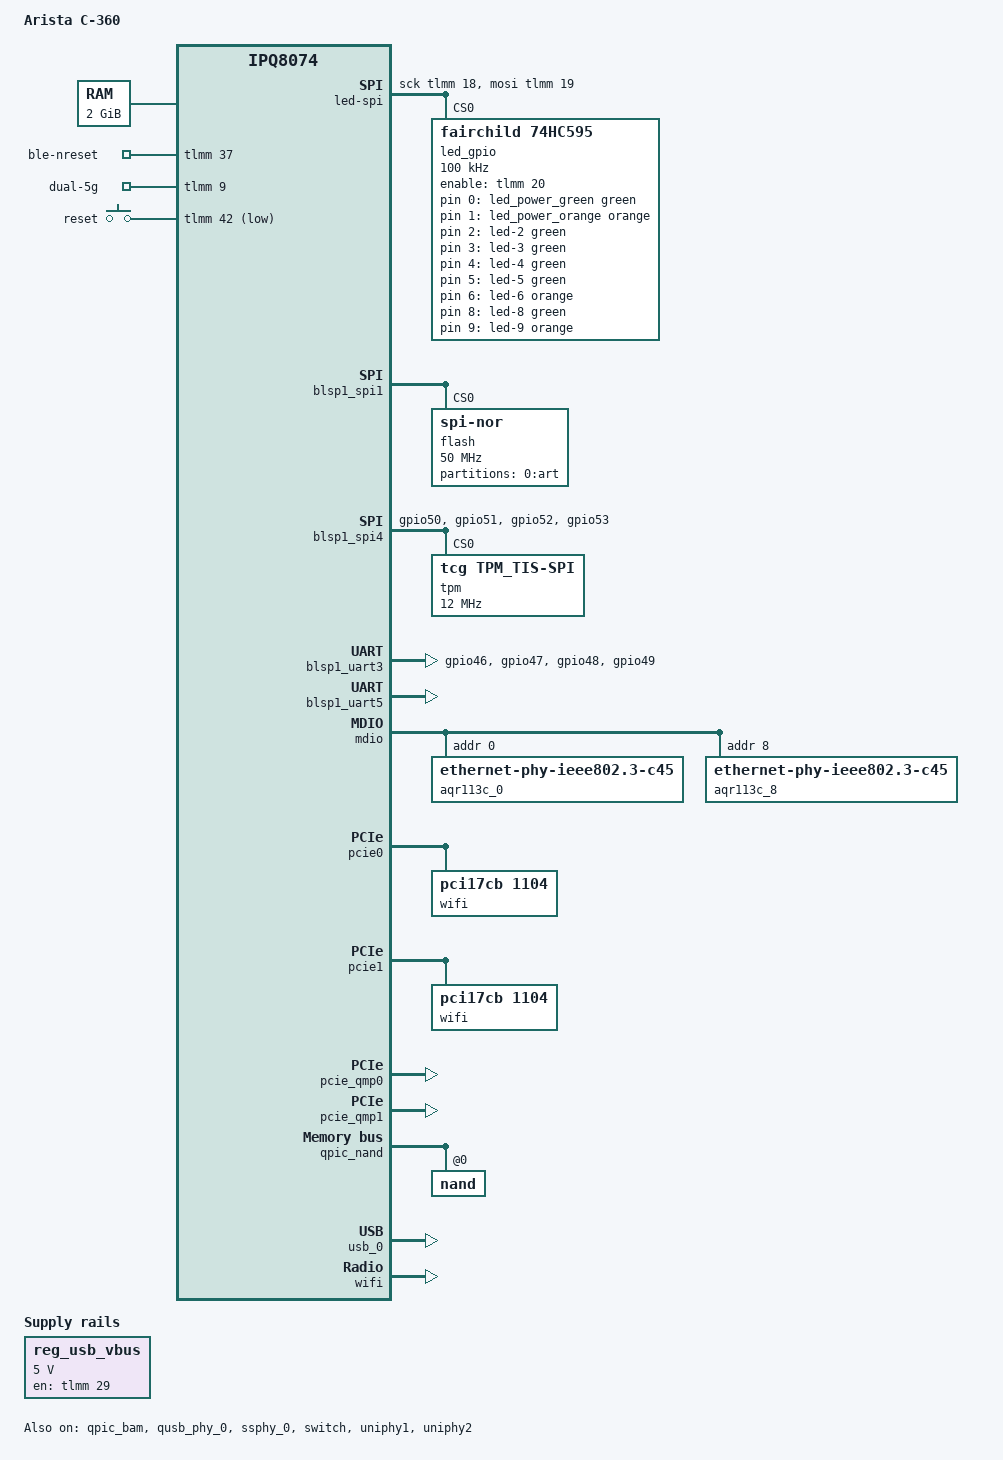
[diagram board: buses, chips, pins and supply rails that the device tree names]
// SPDX-License-Identifier: GPL-2.0-or-later OR MIT

/dts-v1/;

#include "ipq8074.dtsi"
#include "ipq8074-hk-cpu.dtsi"
#include "ipq8074-ess.dtsi"
#include "ipq8074-nss.dtsi"
#include <dt-bindings/gpio/gpio.h>
#include <dt-bindings/input/input.h>
#include <dt-bindings/leds/common.h>

/ {
	model = "Arista C-360";
	compatible = "arista,c-360", "qcom,ipq8074";

	aliases {
		serial0 = &blsp1_uart5;
		serial1 = &blsp1_uart3;
		led-boot = &led_power_orange;
		led-failsafe = &led_power_orange;
		led-running = &led_power_green;
		led-upgrade = &led_power_orange;
		label-mac-device = &port_lan1;
	};

	chosen {
		stdout-path = "serial0:115200n8";
		bootargs-append = " ubi.mtd=rootfs root=/dev/ubiblock0_1";
	};

	memory@40000000 {
		device_type = "memory";
		reg = <0x0 0x40000000 0x0 0x80000000>;
	};

	reg_usb_vbus: regulator-usb-vbus {
		compatible = "regulator-fixed";
		regulator-name = "usb_vbus";
		regulator-min-microvolt = <5000000>;
		regulator-max-microvolt = <5000000>;
		gpios = <&tlmm 29 GPIO_ACTIVE_HIGH>;
		enable-active-high;
	};

	gpio-export {
		compatible = "gpio-export";

		ble-nreset {
			gpio-export,name = "ble-nreset";
			gpio-export,output = <1>;
			gpios = <&tlmm 37 GPIO_ACTIVE_HIGH>;
		};

		/*
		 * the radio plan, as on the vendor firmware: low for 6 GHz (the
		 * IPQ8074 on all of 5 GHz, the pcie0 QCN9074 on 6 GHz), high for
		 * dual 5 GHz (the IPQ8074 on lower 5 GHz, the pcie0 QCN9074 on
		 * upper 5 GHz)
		 */
		dual-5g {
			gpio-export,name = "dual-5g";
			gpio-export,output = <0>;
			gpios = <&tlmm 9 GPIO_ACTIVE_HIGH>;
		};
	};

	keys {
		compatible = "gpio-keys";
		pinctrl-0 = <&button_pins>;
		pinctrl-names = "default";

		reset {
			label = "reset";
			gpios = <&tlmm 42 GPIO_ACTIVE_LOW>;
			linux,code = <KEY_RESTART>;
		};
	};

	led-spi {
		compatible = "spi-gpio";
		#address-cells = <1>;
		#size-cells = <0>;
		sck-gpios = <&tlmm 18 GPIO_ACTIVE_HIGH>;
		mosi-gpios = <&tlmm 19 GPIO_ACTIVE_HIGH>;

		led_gpio: led-gpio@0 {
			compatible = "fairchild,74hc595";
			reg = <0>;
			enable-gpios = <&tlmm 20 GPIO_ACTIVE_HIGH>;
			spi-max-frequency = <100000>;
			gpio-controller;
			#gpio-cells = <2>;
			registers-number = <2>;
		};
	};

	leds {
		compatible = "gpio-leds";

		led_power_green: led-0 {
			color = <LED_COLOR_ID_GREEN>;
			function = LED_FUNCTION_POWER;
			gpios = <&led_gpio 0 GPIO_ACTIVE_HIGH>;
		};

		led_power_orange: led-1 {
			color = <LED_COLOR_ID_ORANGE>;
			function = LED_FUNCTION_POWER;
			gpios = <&led_gpio 1 GPIO_ACTIVE_HIGH>;
		};

		led-2 {
			color = <LED_COLOR_ID_GREEN>;
			function = LED_FUNCTION_WLAN_2GHZ;
			gpios = <&led_gpio 2 GPIO_ACTIVE_HIGH>;
		};

		led-3 {
			color = <LED_COLOR_ID_GREEN>;
			function = LED_FUNCTION_WLAN_5GHZ;
			gpios = <&led_gpio 3 GPIO_ACTIVE_HIGH>;
		};

		led-4 {
			color = <LED_COLOR_ID_GREEN>;
			function = LED_FUNCTION_WLAN_6GHZ;
			gpios = <&led_gpio 4 GPIO_ACTIVE_HIGH>;
		};

		led-5 {
			color = <LED_COLOR_ID_GREEN>;
			function = LED_FUNCTION_LAN;
			function-enumerator = <1>;
			gpios = <&led_gpio 5 GPIO_ACTIVE_HIGH>;
		};

		led-6 {
			color = <LED_COLOR_ID_ORANGE>;
			function = LED_FUNCTION_LAN;
			function-enumerator = <1>;
			gpios = <&led_gpio 6 GPIO_ACTIVE_HIGH>;
		};

		led-8 {
			color = <LED_COLOR_ID_GREEN>;
			function = LED_FUNCTION_LAN;
			function-enumerator = <2>;
			gpios = <&led_gpio 8 GPIO_ACTIVE_HIGH>;
		};

		led-9 {
			color = <LED_COLOR_ID_ORANGE>;
			function = LED_FUNCTION_LAN;
			function-enumerator = <2>;
			gpios = <&led_gpio 9 GPIO_ACTIVE_HIGH>;
		};
	};
};

&blsp1_spi1 {
	status = "okay";

	flash@0 {
		compatible = "jedec,spi-nor";
		reg = <0>;
		spi-max-frequency = <50000000>;
		partitions {
			compatible = "qcom,smem-part";
			qcom,smem-flash-id = <0>;

			partition-0-art {
				label = "0:art";
				read-only;

				nvmem-layout {
					compatible = "fixed-layout";
					#address-cells = <1>;
					#size-cells = <1>;

					macaddr_art_0: macaddr@0 {
						reg = <0x0 0x6>;
					};

					macaddr_art_6: macaddr@6 {
						reg = <0x6 0x6>;
					};

					caldata_ipq8074: calibration@1000 {
						reg = <0x1000 0x20000>;
					};

					caldata_pcie0: calibration@26800 {
						reg = <0x26800 0x20000>;
					};

					caldata_pcie1: calibration@4c000 {
						reg = <0x4c000 0x20000>;
					};
				};
			};
		};
	};
};

/* Infineon SLB 9670 TPM 2.0 */
&blsp1_spi4 {
	pinctrl-0 = <&tpm_spi_pins>;
	pinctrl-names = "default";
	status = "okay";

	tpm@0 {
		compatible = "tcg,tpm_tis-spi";
		reg = <0>;
		spi-max-frequency = <12000000>;
	};
};

/* the nRF52833 Bluetooth LE controller (HCI over UART, no flow control) */
&blsp1_uart3 {
	pinctrl-0 = <&ble_uart_pins>;
	pinctrl-names = "default";
	status = "okay";
};

&blsp1_uart5 {
	status = "okay";
};

&edma {
	status = "okay";
};

&mdio {
	status = "okay";

	/* Ethernet 2 */
	aqr113c_0: ethernet-phy@0 {
		compatible = "ethernet-phy-ieee802.3-c45";
		reg = <0>;
	};

	/* Ethernet 1 */
	aqr113c_8: ethernet-phy@8 {
		compatible = "ethernet-phy-ieee802.3-c45";
		reg = <8>;
	};
};

&pcie0 {
	status = "okay";
	perst-gpios = <&tlmm 58 GPIO_ACTIVE_LOW>;

	pcie@0 {
		/* QCN9074: the 6 GHz radio */
		wifi@0,0 {
			compatible = "pci17cb,1104";
			reg = <0x00010000 0 0 0 0>;
			/* as the vendor firmware: 16 + 1 interfaces, 512 clients */
			qcom,ath11k-fw-memory-mode = <0>;
			qcom,ath11k-calibration-variant = "Arista-C360-pcie0";
			nvmem-cells = <&caldata_pcie0>;
			nvmem-cell-names = "calibration";
		};
	};
};

&pcie1 {
	status = "okay";
	perst-gpios = <&tlmm 61 GPIO_ACTIVE_LOW>;

	pcie@0 {
		/* QCN9072, the 2x2 QCN9074: the 2.4/5/6 GHz radio */
		wifi@0,0 {
			compatible = "pci17cb,1104";
			reg = <0x00010000 0 0 0 0>;
			qcom,ath11k-fw-memory-mode = <0>;
			qcom,ath11k-calibration-variant = "Arista-C360-pcie1";
			nvmem-cells = <&caldata_pcie1>;
			nvmem-cell-names = "calibration";
		};
	};
};

&pcie_qmp0 {
	status = "okay";
};

&pcie_qmp1 {
	status = "okay";
};

&qpic_bam {
	status = "okay";
};

&qpic_nand {
	status = "okay";

	/* absorbs the partitions the bootloader adds at boot */
	partitions {
		status = "disabled";
	};

	nand@0 {
		reg = <0>;
		nand-ecc-strength = <8>;
		nand-ecc-step-size = <512>;
		nand-bus-width = <8>;
		partitions {
			compatible = "qcom,smem-part";
			qcom,smem-flash-id = <1>;
		};
	};
};

&qusb_phy_0 {
	status = "okay";
	vdd-supply = <&reg_usb_vbus>;
};

&ssphy_0 {
	status = "okay";
};

&switch {
	status = "okay";

	ports {
		#address-cells = <1>;
		#size-cells = <0>;

		port@0 {
			reg = <0>;
			ethernet = <&edma>;
			phy-mode = "internal";

			fixed-link {
				speed = <1000>;
				full-duplex;
			};
		};

		port_lan1: port@5 {
			reg = <5>;
			label = "lan1";
			phy-handle = <&aqr113c_8>;
			phy-mode = "usxgmii";
			managed = "in-band-status";
			pcs-handle = <&uniphy1 0>;
			nvmem-cells = <&macaddr_art_0>;
			nvmem-cell-names = "mac-address";
		};

		port@6 {
			reg = <6>;
			label = "lan2";
			phy-handle = <&aqr113c_0>;
			phy-mode = "usxgmii";
			managed = "in-band-status";
			pcs-handle = <&uniphy2 0>;
			nvmem-cells = <&macaddr_art_6>;
			nvmem-cell-names = "mac-address";
		};
	};
};

&tlmm {
	button_pins: button-state {
		pins = "gpio42";
		function = "gpio";
		drive-strength = <2>;
		bias-pull-up;
	};

	ble_uart_pins: ble-uart-state {
		pins = "gpio46", "gpio47", "gpio48", "gpio49";
		function = "blsp2_uart";
		drive-strength = <8>;
		bias-disable;
	};

	tpm_spi_pins: tpm-spi-state {
		pins = "gpio50", "gpio51", "gpio52", "gpio53";
		function = "blsp3_spi";
		drive-strength = <8>;
		bias-disable;
	};
};

&uniphy1 {
	status = "okay";
};

&uniphy2 {
	status = "okay";
};

&usb_0 {
	status = "okay";
};

&wifi {
	status = "okay";
	qcom,ath11k-calibration-variant = "Arista-C360";
	nvmem-cells = <&caldata_ipq8074>;
	nvmem-cell-names = "calibration";
};
